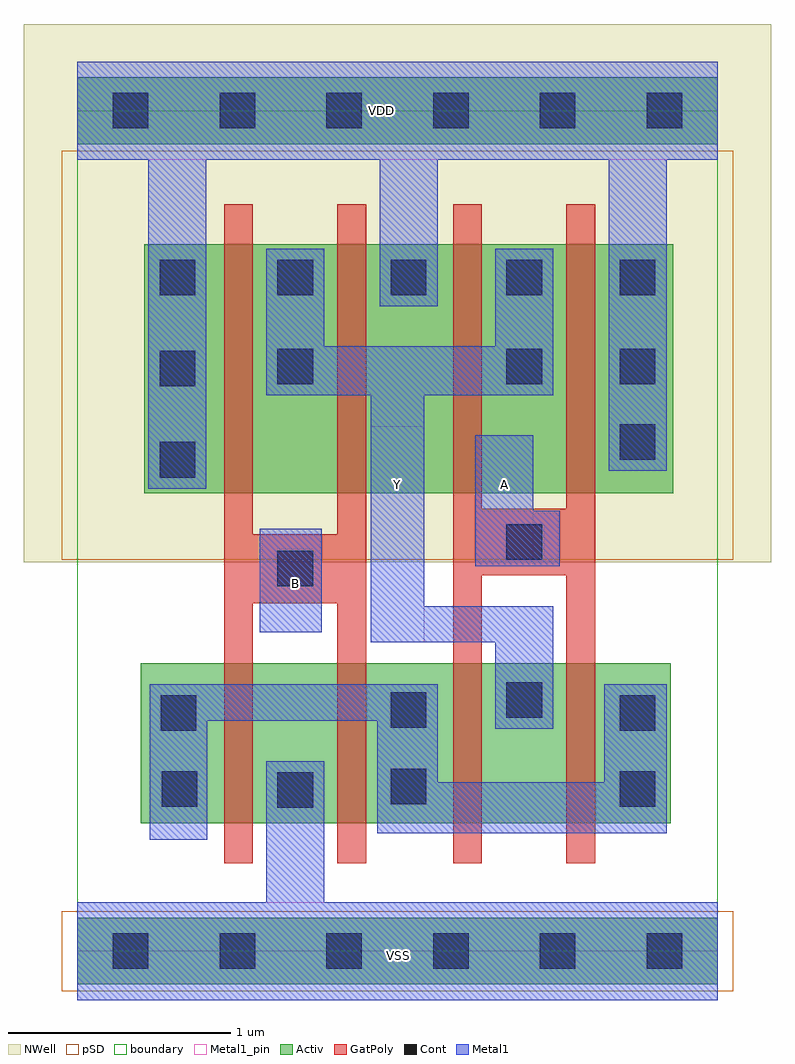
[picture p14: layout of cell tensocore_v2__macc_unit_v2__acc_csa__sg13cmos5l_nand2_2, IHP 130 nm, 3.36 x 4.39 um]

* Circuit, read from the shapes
.subckt tensocore_v2__macc_unit_v2__acc_csa__sg13cmos5l_nand2_2 A B VDD VSS Y
XM1 VSS B n1 VSS sg13_lv_nmos w=0.72u l=0.13u m=2
XM2 Y A n1 VSS sg13_lv_nmos w=0.72u l=0.13u m=2
XM3 Y B VDD VDD sg13_lv_pmos w=1.12u l=0.13u m=2
XM4 Y A VDD VDD sg13_lv_pmos w=1.12u l=0.13u m=2
.ends

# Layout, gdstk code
import gdstk
lib = gdstk.Library(unit=1e-6, precision=1e-09)
def R(c, l, rs):  # rectangles x0, y0, x1, y1
    for r in rs: c.add(gdstk.rectangle(r[:2], r[2:], *l))
def A(c, l, x, y, w, h, nx, ny, dx, dy):  # array of equal rectangles
    R(c, l, [(x+i*dx, y+j*dy, x+i*dx+w, y+j*dy+h) for i in range(nx) for j in range(ny)])
def P(c, l, *ps):  # polygons
    for p in ps: c.add(gdstk.Polygon(p, *l))
Activ = (1, 0)
GatPoly = (5, 0)
Cont = (6, 0)
Metal1 = (8, 0)
Metal1_pin = (8, 2)
pSD = (14, 0)
NWell = (31, 0)
boundary = (189, 4)

tensocore_v2__macc_unit_ = lib.new_cell('tensocore_v2__macc_unit_v2__acc_csa__sg13cmos5l_nand2_2')
R(tensocore_v2__macc_unit_, Activ, [(0,-0.15,2.88,0.15), (0.285,0.575,2.67,1.295), (0.3,2.06,2.68,3.18), (0,3.63,2.88,3.93)])
P(tensocore_v2__macc_unit_, GatPoly, [(1.69,0.395),(1.69,3.36),(1.82,3.36),(1.82,1.99),(2.2,1.99),(2.2,3.36),(2.33,3.36),(2.33,0.395),(2.2,0.395),(2.2,1.69),(1.82,1.69),(1.82,0.395)],
  [(0.66,0.395),(0.66,3.36),(0.79,3.36),(0.79,1.875),(1.17,1.875),(1.17,3.36),(1.3,3.36),(1.3,0.395),(1.17,0.395),(1.17,1.565),(0.79,1.565),(0.79,0.395)])
A(tensocore_v2__macc_unit_, Cont, 1.6, -0.08, 0.16, 0.16, 3, 2, 0.48, 3.78)
A(tensocore_v2__macc_unit_, Cont, 0.37, 2.13, 0.16, 0.16, 1, 3, 0, 0.41)
R(tensocore_v2__macc_unit_, Cont, [(0.16,-0.08,0.32,0.08), (0.16,-0.08,0.32,0.08), (0.64,-0.08,0.8,0.08), (0.64,-0.08,0.8,0.08), (1.12,-0.08,1.28,0.08), (1.12,-0.08,1.28,0.08), (1.6,-0.08,1.76,0.08), (0.9,0.645,1.06,0.805), (0.38,0.65,0.54,0.81), (2.44,0.65,2.6,0.81), (1.41,0.66,1.57,0.82), (0.375,0.99,0.535,1.15), (2.44,0.99,2.6,1.15), (1.41,1.005,1.57,1.165), (1.93,1.05,2.09,1.21), (0.9,1.64,1.06,1.8), (1.93,1.76,2.09,1.92), (2.44,2.21,2.6,2.37), (0.9,2.55,1.06,2.71), (1.93,2.55,2.09,2.71), (2.44,2.55,2.6,2.71), (0.9,2.95,1.06,3.11), (1.41,2.95,1.57,3.11), (1.93,2.95,2.09,3.11), (2.44,2.95,2.6,3.11), (0.16,3.7,0.32,3.86), (0.16,3.7,0.32,3.86), (0.64,3.7,0.8,3.86), (0.64,3.7,0.8,3.86), (1.12,3.7,1.28,3.86), (1.12,3.7,1.28,3.86), (1.6,3.7,1.76,3.86)])
R(tensocore_v2__macc_unit_, Metal1, [(0.82,1.435,1.1,1.9)])
P(tensocore_v2__macc_unit_, Metal1, [(0,-0.22),(0,0.22),(0.85,0.22),(0.85,0.855),(1.11,0.855),(1.11,0.22),(2.88,0.22),(2.88,-0.22)],
  [(0.325,0.5),(0.325,1.2),(1.62,1.2),(1.62,0.76),(2.37,0.76),(2.37,1.2),(2.65,1.2),(2.65,0.53),(1.35,0.53),(1.35,1.035),(0.585,1.035),(0.585,0.5)],
  [(1.88,1),(1.88,1.39),(1.32,1.39),(1.32,2.5),(0.85,2.5),(0.85,3.16),(1.11,3.16),(1.11,2.72),(1.88,2.72),(1.88,3.16),(2.14,3.16),(2.14,2.5),(1.56,2.5),(1.56,1.55),(2.14,1.55),(2.14,1)],
  [(1.79,1.73),(1.79,2.32),(2.05,2.32),(2.05,1.98),(2.17,1.98),(2.17,1.73)],
  [(0.32,2.08),(0.32,3.56),(0,3.56),(0,4),(2.88,4),(2.88,3.56),(2.65,3.56),(2.65,2.16),(2.39,2.16),(2.39,3.56),(1.62,3.56),(1.62,2.9),(1.36,2.9),(1.36,3.56),(0.58,3.56),(0.58,2.08)])
R(tensocore_v2__macc_unit_, Metal1_pin, [(0,-0.22,2.88,0.22), (1.32,1.39,1.56,2.36), (0.82,1.435,1.1,1.9), (1.79,1.73,2.05,2.32), (0,3.56,2.88,4)])
R(tensocore_v2__macc_unit_, pSD, [(-0.07,-0.18,2.95,0.18), (-0.07,1.76,2.95,3.6)])
R(tensocore_v2__macc_unit_, NWell, [(-0.24,1.75,3.12,4.17)])
R(tensocore_v2__macc_unit_, boundary, [(0,0,2.88,3.78)])
tensocore_v2__macc_unit_.add(gdstk.Label('B', (0.98,1.655), layer=8, texttype=25))
tensocore_v2__macc_unit_.add(gdstk.Label('VSS', (1.445,-0.02), layer=8, texttype=25))
tensocore_v2__macc_unit_.add(gdstk.Label('A', (1.92,2.1), layer=8, texttype=25))
tensocore_v2__macc_unit_.add(gdstk.Label('VDD', (1.37,3.78), layer=8, texttype=25))
tensocore_v2__macc_unit_.add(gdstk.Label('Y', (1.44,2.1), layer=8, texttype=25))

lib.write_gds('tensocore_v2__macc_unit_v2__acc_csa__sg13cmos5l_nand2_2.gds')
